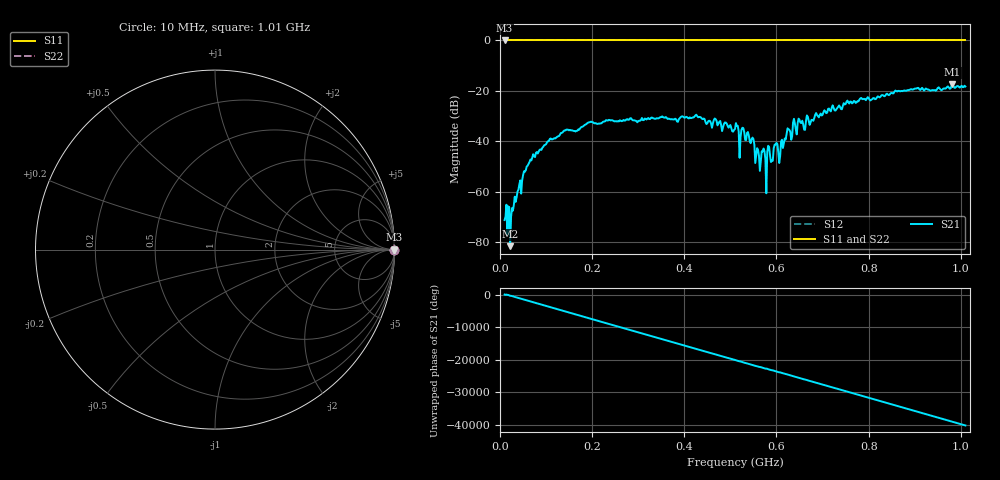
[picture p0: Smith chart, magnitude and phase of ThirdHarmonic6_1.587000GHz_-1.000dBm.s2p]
! 8/16/2025 6:54:07 PM
! C:\ANRITSUVNA\TEMP\TEMP.S2P
! CHANNEL.1
! TR.MEASUREMENT
! RAW.DATA
! RF.CORRECTION.OFF
! AVERAGING.OFF
! IF.BANDWIDTH: 5KHZ
! SWEEPTYPE:  FREQ.SWEEP(Linear)
! Reference Plane Port Info
! PORT:  PORT1  PORT2
! DISTANCE:  0  m  0  m
! TIME:  0  s  0  s
! PHASE.OFFSET:  0  deg.  0  deg.
! LOSS:  0  dB  0  dB
! REF.LOSS:  0  dB  0  dB
! REF.FREQ:  0  Hz  0  Hz
! Power Info
! POWER:  -20  dBm  -20  dBm
! EFF.POWER:  -20  dBm  -20  dBm
! SOURCE.ATTEN:  0  dB  0  dB
! TEST.ATTEN:  0  dB  0  dB
# GHZ S RI R 50.0
! FREQ.GHZ  S11RE  S11IM  S21RE  S21IM  S12RE  S12IM  S22RE  S22IM
!; PortSelection: Port_12
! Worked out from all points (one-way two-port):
!   501 points, 10 MHz to 1.01 GHz, reference 50 ohm
!   highest |S21| = -17.39 dB at 982 MHz (marker M1); lowest = -81.6 dB at 22 MHz (marker M2)
!   lowest |S11| = 0.0 dB at 10 MHz (marker M3)
!   |S11| at or under -10 dB: nowhere
!   |S22| runs from 0.0 to 0.0 dB; largest |S21 - S12| = 1.1
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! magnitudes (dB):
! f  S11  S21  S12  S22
! 10 MHz  0.0  -71.3  0.0  0.0
! 22 MHz  0.0  -81.6  0.0  0.0
! 54 MHz  0.0  -52.1  0.0  0.0
! 70 MHz  0.0  -46.5  0.0  0.0
! 108 MHz  0.0  -39.1  0.0  0.0
! 178 MHz  0.0  -34.3  0.0  0.0
! 344 MHz  0.0  -30.9  0.0  0.0
! 428 MHz  0.0  -30.0  0.0  0.0
! 510 MHz  0.0  -35.1  0.0  0.0
! 548 MHz  0.0  -38.6  0.0  0.0
! 562 MHz  0.0  -45.8  0.0  0.0
! 572 MHz  0.0  -42.9  0.0  0.0
! 576 MHz  0.0  -47.3  0.0  0.0
! 584 MHz  0.0  -42.3  0.0  0.0
! 590 MHz  0.0  -47.6  0.0  0.0
! 598 MHz  0.0  -41.3  0.0  0.0
! 610 MHz  0.0  -40.1  0.0  0.0
! 626 MHz  0.0  -35.2  0.0  0.0
! 678 MHz  0.0  -31.5  0.0  0.0
! 844 MHz  0.0  -21.7  0.0  0.0
! 982 MHz  0.0  -17.4  0.0  0.0
! 1.01 GHz  0.0  -18.3  0.0  0.0
